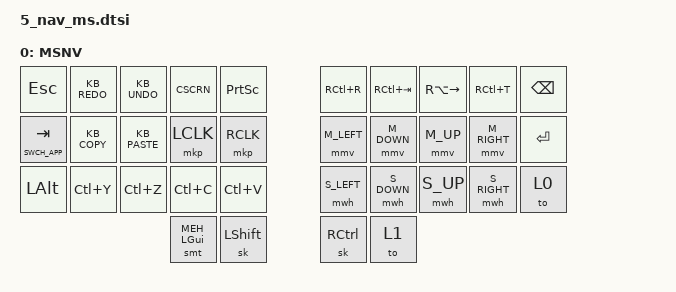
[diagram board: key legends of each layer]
/*
 * Mouse Navigation Layer
*/

/ {
  keymap {
    compatible = "zmk,keymap";

    nav_ms {
      label = "MSNV";
      bindings = <
    &kp ESC           &kp KB_REDO &kp KB_UNDO   &kp CSCRN &kp PSCRN       &kp RC(R)   &kp RC(TAB) &kp RA(RIGHT) &kp RC(T)     &kp BSPC
    &mt SWCH_APP TAB  &kp KB_COPY &kp KB_PASTE  &mkp LCLK &mkp RCLK       &mmv M_LEFT &mmv M_DOWN &mmv M_UP     &mmv M_RIGHT  &kp RET
    &kp LALT          &kp LC(Y)   &kp LC(Z)     &kp LC(C) &kp LC(V)       &mwh S_LEFT &mwh S_DOWN &mwh S_UP     &mwh S_RIGHT  &to 0
                                  &smt MEH LGUI           &sk LSHIFT      &sk RCTRL               &to 1
      >;
    };
  };
};

/*
*╭───────────────┬───────────────┬───────────────┬───────────────┬───────────────╮  ╭───────────────┬───────────────┬───────────────┬───────────────┬───────────────╮
* 0               1               2               3               4                  5               6               7               8               9
* t: 1            t: 2            t: 3            t: 4            t: 5               t: 6            t: 7            t: 8            t: 9            t: 0
* h: F1           h: F2           h: F3           h: F4           h: F5              h: F6           h: F7           h: F8           h: F9           h: F10
* s:              s:              s:              s:              s:                 s:              s:              s:              s:              s:
*├───────────────┼───────────────┼───────────────┼───────────────┼───────────────┤  ├───────────────┼───────────────┼───────────────┼───────────────┼───────────────┤
* 10              11              12              13              14                 15              16              17              18              19
* t: =            t: ^            t: -            t: +            t: %               t: &            t: (            t: )            t: [            t: ]
* h:              h:              h: LALT         h: LGUI         h:                 h:              h: RGUI         h: RALT         h:              h:
* s:              s:              s:              s:              s:                 s:              s:              s:              s:              s:
*├───────────────├───────────────┼───────────────┼───────────────┼───────────────┤  ├───────────────┼───────────────┼───────────────┼───────────────┼───────────────┤
* 20              21              22              23              24                 25              26              27              28              29
* t: \            t: |            t: `            t: ~            t: ENGLISH         t: HEBREW       t: {            t: }            t: <            t: >
* h:              h:              h:              h:              h:                 h:              h:              h:              h:              h:
* s:              s:              s:              s:              s:                 s:              s:              s:              s:              s:
*╰───────────────┴───────────────┼───────────────┴───────┬───────┴───────────────┤  ├───────────────┴───────┬───────┴───────────────┼───────────────┴───────────────┤
*                                 30                      31                         32                      33
*                                 t: SPACE                t: LSHIFT                  t: RCTRL                t: KEYBOARD NAV
*                                 h: MEH                  h:                         h:                      h:
*                                 s:                      s:                         s:                      s:
*                                ╰───────────────────────┴───────────────────────╯  ╰───────────────────────┴───────────────────────╯
*/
